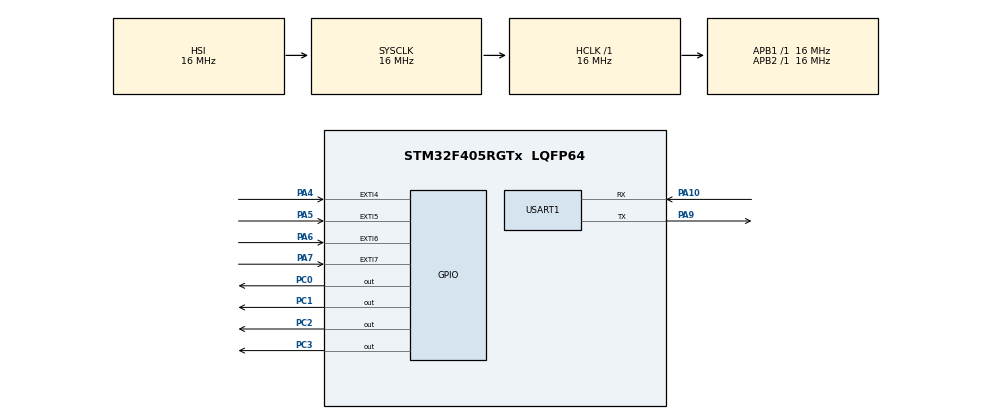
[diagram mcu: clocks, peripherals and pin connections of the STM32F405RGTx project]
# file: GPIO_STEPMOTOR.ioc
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Mcu.Family=STM32F4
Mcu.Name=STM32F405RGTx
Mcu.Package=LQFP64
NVIC.EXTI4_IRQn=true\:0\:0\:false\:false\:true\:true\:true\:true
NVIC.EXTI9_5_IRQn=true\:0\:0\:false\:false\:true\:true\:true\:true
NVIC.PriorityGroup=NVIC_PRIORITYGROUP_4
NVIC.USART1_IRQn=true\:0\:0\:false\:false\:true\:true\:true\:true
PA10.Mode=Asynchronous
PA10.Signal=USART1_RX
PA13.Mode=Serial_Wire
PA13.Signal=SYS_JTMS-SWDIO
PA14.Mode=Serial_Wire
PA14.Signal=SYS_JTCK-SWCLK
PA4.Signal=GPXTI4
PA5.Signal=GPXTI5
PA6.Signal=GPXTI6
PA7.Signal=GPXTI7
PA9.Mode=Asynchronous
PA9.Signal=USART1_TX
PC0.Signal=GPIO_Output
PC1.Signal=GPIO_Output
PC2.Signal=GPIO_Output
PC3.Signal=GPIO_Output
ProjectManager.HeapSize=0x200
ProjectManager.StackSize=0x400
ProjectManager.TargetToolchain=STM32CubeIDE
RCC.AHBFreq_Value=16000000
RCC.APB1Freq_Value=16000000
RCC.APB2Freq_Value=16000000
RCC.CortexFreq_Value=16000000
RCC.HSE_VALUE=25000000
RCC.HSI_VALUE=16000000
RCC.LSE_VALUE=32768
RCC.SYSCLKFreq_VALUE=16000000
RCC.VCOOutputFreq_Value=192000000
USART1.VirtualMode=VM_ASYNC
board=custom

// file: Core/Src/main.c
/* USER CODE BEGIN Header */
/**
  ******************************************************************************
  * @file           : main.c
  * @brief          : Main program body
  ******************************************************************************
  * @attention
  *
  * Copyright (c) 2023 STMicroelectronics.
  * All rights reserved.
  *
  * This software is licensed under terms that can be found in the LICENSE file
  * in the root directory of this software component.
  * If no LICENSE file comes with this software, it is provided AS-IS.
  *
  ******************************************************************************
  */
/* USER CODE END Header */
#include "main.h"

/* USER CODE BEGIN PD */
#define STEPS_PER_ROTATION 48 // 한 바퀴에 48 스텝(모터 사양에 따라 달라짐)
#define STEPS_PER_90_DEGREE (STEPS_PER_ROTATION / 4) // 12 스텝(90도 회전)
#define STEPS_PER_180_DEGREE (STEPS_PER_ROTATION / 2) // 24 스텝(180도 회전)
#define STEPS_PER_360_DEGREE STEPS_PER_ROTATION // 48 스텝(360도 회전)
#define DELAY_BETWEEN_STEPS_MS 10 // 각 스텝 사이 딜레이 시간 10ms
/* USER CODE END PD */

UART_HandleTypeDef huart1;

/* USER CODE BEGIN PV */
uint8_t *current_pattern = 0;
int current_pattern_length = 0;
int rotation_steps = 0;
/* USER CODE END PV */

void SystemClock_Config(void);
static void MX_GPIO_Init(void);
static void MX_USART1_UART_Init(void);
/* USER CODE BEGIN PFP */
void set_motor_pins(uint8_t pattern);
void motor_wave_drive();
void motor_full_drive();
void motor_half_drive();
void motor_half_drive_ccw();
void rotate_steps(int steps);
void HAL_GPIO_EXTI_Callback(uint16_t GPIO_Pin);
/* USER CODE END PFP */

int main(void)
{

  /* MCU Configuration--------------------------------------------------------*/

  /* Reset of all peripherals, Initializes the Flash interface and the Systick. */
  HAL_Init();

  /* Configure the system clock */
  SystemClock_Config();

  /* Initialize all configured peripherals */
  MX_GPIO_Init();
  MX_USART1_UART_Init();

  /* Infinite loop */
  /* USER CODE BEGIN WHILE */
  while (1)
  {
	  if (rotation_steps > 0) {
		  rotate_steps(rotation_steps); // 특정 스텝만큼 회전시키는 함수 호출
		  rotation_steps = 0; // 추가 회전 없도록 스텝 다시 0으로 설정.
	  }
    /* USER CODE END WHILE */

  }
}

void SystemClock_Config(void)
{
  RCC_OscInitTypeDef RCC_OscInitStruct = {0};
  RCC_ClkInitTypeDef RCC_ClkInitStruct = {0};

  /** Configure the main internal regulator output voltage
  */
  __HAL_RCC_PWR_CLK_ENABLE();
  __HAL_PWR_VOLTAGESCALING_CONFIG(PWR_REGULATOR_VOLTAGE_SCALE1);

  /** Initializes the RCC Oscillators according to the specified parameters
  * in the RCC_OscInitTypeDef structure.
  */
  RCC_OscInitStruct.OscillatorType = RCC_OSCILLATORTYPE_HSI;
  RCC_OscInitStruct.HSIState = RCC_HSI_ON;
  RCC_OscInitStruct.HSICalibrationValue = RCC_HSICALIBRATION_DEFAULT;
  RCC_OscInitStruct.PLL.PLLState = RCC_PLL_NONE;
  if (HAL_RCC_OscConfig(&RCC_OscInitStruct) != HAL_OK)
  {
    Error_Handler();
  }

  /** Initializes the CPU, AHB and APB buses clocks
  */
  RCC_ClkInitStruct.ClockType = RCC_CLOCKTYPE_HCLK|RCC_CLOCKTYPE_SYSCLK
                              |RCC_CLOCKTYPE_PCLK1|RCC_CLOCKTYPE_PCLK2;
  RCC_ClkInitStruct.SYSCLKSource = RCC_SYSCLKSOURCE_HSI;
  RCC_ClkInitStruct.AHBCLKDivider = RCC_SYSCLK_DIV1;
  RCC_ClkInitStruct.APB1CLKDivider = RCC_HCLK_DIV1;
  RCC_ClkInitStruct.APB2CLKDivider = RCC_HCLK_DIV1;

  if (HAL_RCC_ClockConfig(&RCC_ClkInitStruct, FLASH_LATENCY_0) != HAL_OK)
  {
    Error_Handler();
  }
}

static void MX_USART1_UART_Init(void)
{

  huart1.Instance = USART1;
  huart1.Init.BaudRate = 115200;
  huart1.Init.WordLength = UART_WORDLENGTH_8B;
  huart1.Init.StopBits = UART_STOPBITS_1;
  huart1.Init.Parity = UART_PARITY_NONE;
  huart1.Init.Mode = UART_MODE_TX_RX;
  huart1.Init.HwFlowCtl = UART_HWCONTROL_NONE;
  huart1.Init.OverSampling = UART_OVERSAMPLING_16;
  if (HAL_UART_Init(&huart1) != HAL_OK)
  {
    Error_Handler();
  }

}

static void MX_GPIO_Init(void)
{
  GPIO_InitTypeDef GPIO_InitStruct = {0};

  /* GPIO Ports Clock Enable */
  __HAL_RCC_GPIOC_CLK_ENABLE();
  __HAL_RCC_GPIOA_CLK_ENABLE();

  /*Configure GPIO pin Output Level */
  HAL_GPIO_WritePin(GPIOC, GPIO_PIN_0|GPIO_PIN_1|GPIO_PIN_2|GPIO_PIN_3, GPIO_PIN_RESET);

  /*Configure GPIO pins : PC0 PC1 PC2 PC3 */
  GPIO_InitStruct.Pin = GPIO_PIN_0|GPIO_PIN_1|GPIO_PIN_2|GPIO_PIN_3;
  GPIO_InitStruct.Mode = GPIO_MODE_OUTPUT_PP;
  GPIO_InitStruct.Pull = GPIO_NOPULL;
  GPIO_InitStruct.Speed = GPIO_SPEED_FREQ_LOW;
  HAL_GPIO_Init(GPIOC, &GPIO_InitStruct);

  /*Configure GPIO pins : PA4 PA5 PA6 PA7 */
  GPIO_InitStruct.Pin = GPIO_PIN_4|GPIO_PIN_5|GPIO_PIN_6|GPIO_PIN_7;
  GPIO_InitStruct.Mode = GPIO_MODE_IT_RISING;
  GPIO_InitStruct.Pull = GPIO_NOPULL;
  HAL_GPIO_Init(GPIOA, &GPIO_InitStruct);

  /* EXTI interrupt init*/
  HAL_NVIC_SetPriority(EXTI4_IRQn, 0, 0);
  HAL_NVIC_EnableIRQ(EXTI4_IRQn);

  HAL_NVIC_SetPriority(EXTI9_5_IRQn, 0, 0);
  HAL_NVIC_EnableIRQ(EXTI9_5_IRQn);

}

/* USER CODE BEGIN 4 */
// 4개 8비트 이진 정수 저장하는 1차원 배열 선언.

// 1상 : 한 번에 하나의 코일만 활성화. 순차적 코일 활성화. 시계 방향 회전.
uint8_t WAVE_DRIVE_PATTERN[] =
{
		0b1000, 0b0100, 0b0010, 0b0001
};

// 2상 : 한 번에 두 개의 코일 동시 활성화. 순차적 코일 조합 활성화. 시계방향 회전.
uint8_t FULL_DRIVE_PATTERN[] =
{
		0b1100, 0b0110, 0b0011, 0b1001
};

// 1-2상 : 1상, 2상 여자의 조합. 더 세밀한 스텝 수행 가능. 시계 방향 회전
uint8_t HALF_DRIVE_PATTERN[] =
{
		0b1001, 0b1000, 0b1100, 0b0100, 0b0110, 0b0010, 0b0011, 0b0001
};

// 1-2상 : 반시계 방향 회전
uint8_t HALF_DRIVE_PATTERN_CCW[] =
{
		0b0001, 0b0011, 0b0010, 0b0110, 0b0100, 0b1100, 0b1000, 0b1001
};

/*----------------------------------------------------------------------------------------------*/

/*
 주어진 패턴에 따라 특정 GPIO(General Purpose Input/Output) 핀 상태를 설정.
 8비트 정수 'pattern' 매개변수로 받아, 각 비트를 GPIO 핀의 상태로 매핑.
 각 비트는 특정 핀에 연결, 비트 값 1이면 해당 핀을 세트 상태(GPIO_PIN_SET), 0이면 리셋 상태(GPIO_PIN_RESET) 설정.
*/
void set_motor_pins(uint8_t pattern) {
	HAL_GPIO_WritePin(GPIOC, GPIO_PIN_0, (pattern & 0x01) ? GPIO_PIN_SET: GPIO_PIN_RESET);
	//	'pattern' LSB(Least Significant Bit, 가장 낮은 비트) 1인지 0인지에 따라 핀 상태를 세트 또는 리셋.

	HAL_GPIO_WritePin(GPIOC, GPIO_PIN_1, (pattern & 0x02) ? GPIO_PIN_SET: GPIO_PIN_RESET);
	//	'pattern' 두 번째 LSB 1인지 0인지에 따라 핀 상태를 세트 또는 리셋.

	HAL_GPIO_WritePin(GPIOC, GPIO_PIN_2, (pattern & 0x04) ? GPIO_PIN_SET: GPIO_PIN_RESET);
	//	'pattern' 세 번째 LSB 1인지 0인지에 따라 핀 상태를 세트 또는 리셋.

	HAL_GPIO_WritePin(GPIOC, GPIO_PIN_3, (pattern & 0x08) ? GPIO_PIN_SET: GPIO_PIN_RESET);
	//	'pattern' 네 번째 LSB 1인지 0인지에 따라 핀 상태를 세트 또는 리셋.
}

/*
pattern 각 비트 다른 핀에 연결, pattern값에 따라 4개 핀의 상태를 동시에 제어할 수 있음.
모터 드라이브 제어와 같은 애플리케이션에서 유용.
*/

/*----------------------------------------------------------------------------------------------

스텝 모터 구동 방식
1상(wave drive): 한 번에 하나의 코일만 활성화. 간단한 방식. 전력소비, 토크 낮음.
2상(full drive): 한 번에 두개의 코일 동시 활성화. 1상보다 전력소비, 토크 높음.
1-2상(half drive): 모든 코일 50% 전력으로 운영. 1상 - 2상 - 1상 - 2상 번갈아 가며 사용 -> 더 부드럽고, 정밀 제어 가능. but, 전력 소비(약 1.4배) 많음.
모터 해상도 2배(단일상 200스텝 1바퀴, 1-2상 400스텝 1바퀴)

----------------------------------------------------------------------------------------------*/

// 1상
void motor_wave_drive() {
	current_pattern = WAVE_DRIVE_PATTERN;
// 웨이브 드라이브 실행하는데 필요한 핀(또는 코일) 구성 나타내는 비트 패턴(일반적으로 상수 배열로 정의)
// 각 배열 요소 순차적으로 모터를 웨이브 드라이브 방식으로 돌리는데 사용.

current_pattern_length = sizeof(WAVE_DRIVE_PATTERN) / sizeof(uint8_t);
//	패턴의 길이 계산하여 저장
//	패턴 배열의 총 요소 수 = 패턴 전체 바이트 크기 반환 / 한 요소의 바이트 크기
}

// 2상
void motor_full_drive() {
	current_pattern = FULL_DRIVE_PATTERN;
	current_pattern_length = sizeof(FULL_DRIVE_PATTERN) / sizeof(uint8_t);
}

// 1-2상
void motor_half_drive() {
	current_pattern = HALF_DRIVE_PATTERN;
	current_pattern_length = sizeof(HALF_DRIVE_PATTERN) / sizeof(uint8_t);
}

// 1-2상 반시계
void motor_half_drive_ccw() {
	current_pattern = HALF_DRIVE_PATTERN_CCW;
	current_pattern_length = sizeof(HALF_DRIVE_PATTERN_CCW) / sizeof(uint8_t);
}

// 특정 스텝 수 만큼 스텝 모터 회전시키는 함수. 스텝 수 매개변수로 입력받아, 그 수만큼 모터 회전시킴.
void rotate_steps(int steps) {
	// 매개면수로 받는 값만큼 반복, 원하는 스텝 수 만큼 모터 회전시키기 위함.
	for (int i = 0; i < steps; i++)	{
		set_motor_pins(current_pattern[i % current_pattern_length]);
		//1. 현재 설정된 패턴(current_pattern)의 i번째 핀 설정을 적용
		//2. i % current_pattern_length : 패턴 순환
		//ex) 패턴 길이 4, 스텝 5인 경우 나머지 1이므로 다시 첫번째 상태로 순환
		HAL_Delay(DELAY_BETWEEN_STEPS_MS);
	}
}

// 특정 GPIO 핀에 외부 인터럽트 발생할 때마다 자동 호출
void HAL_GPIO_EXTI_Callback(uint16_t GPIO_Pin) {
	// 외부 인터럽트 연결 확인 메시지 출력
	printf("HAL_GPIO_EXTI_Callback triggered!\r\n");
	switch (GPIO_Pin) {
	case GPIO_PIN_4: // 버튼 누르면 1상 시계방향 90도
		printf("Set rotation 90 degrees\r\n");
		motor_wave_drive();
		rotation_steps = STEPS_PER_90_DEGREE;
		break;

	case GPIO_PIN_5: // 버튼 누르면 1상 시계방향 180도
		printf("Set rotation 180 degrees\r\n");
		motor_wave_drive();
		rotation_steps = STEPS_PER_180_DEGREE;
		break;

	case GPIO_PIN_6: // 버튼 누르면 1상 시계방향 360도
		printf("Set rotation 360 degrees\r\n");
		motor_wave_drive();
		rotation_steps = STEPS_PER_360_DEGREE;
		break;

	case GPIO_PIN_7: // 버튼 누르면 1-2상 반시계 360도
		printf("Set rotation CCW Direction\r\n");
		motor_half_drive_ccw();
		rotation_steps = STEPS_PER_360_DEGREE * 2;
		// Since it is 1-2 phase, you need to do 1 or 2 phase step x 2.
		break;

	default:
		break;
	}
}
// UART(Universal Asynchronous Receiver/Transmitter) 데이터 전송 함수
int __io_putchar(int ch) // 단일 문자 ch 전송
{
	//UART_HandleTypeDef huart1;
	HAL_UART_Transmit(&huart1, (uint8_t *) &ch, 1, 0xFFFF);
	// (UART 핸들러, 전송할 데이터의 포인터, 전송할 데이터 크기(1바이트), 전송 시간 제한(최대값))
	return ch;
}
// 문자열 전송(파일 디스크립터, 전송 문자열 시작 포인터, 전송 문자열 길이)
int _write(int file, char *ptr, int len) {
	int DataIdx;
	for (DataIdx = 0; DataIdx < len; DataIdx++) {
		__io_putchar(*ptr++); // 문자열의 각 문자 UART 전송
	}
	return len; // 문자열의 모든 문자 전송 후, 전송한 문자 수(len) 반환
}
/* USER CODE END 4 */

void Error_Handler(void)
{
  __disable_irq();
  while (1)
  {
  }
}
